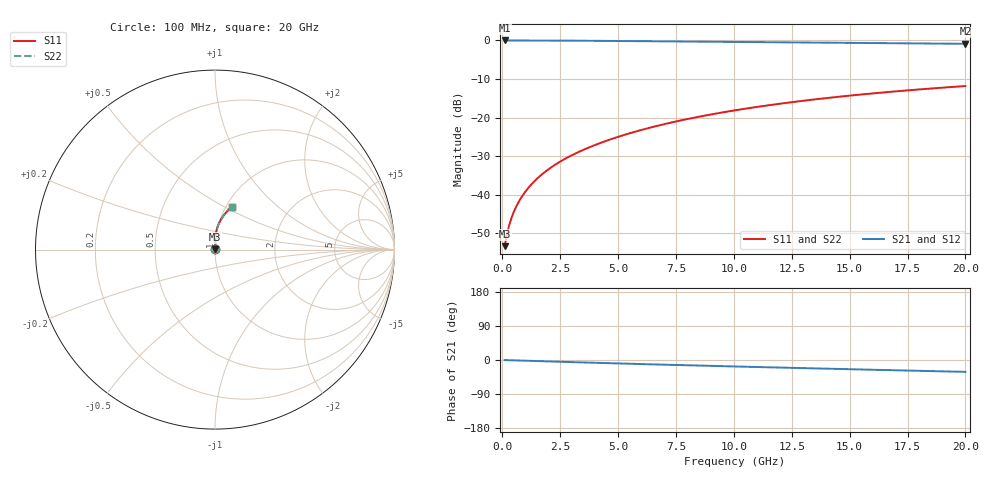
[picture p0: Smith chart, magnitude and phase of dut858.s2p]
! Touchstone file exported from HFSS 2024.1.0
!  File:  C:/UserFiles/LocalFiles/RDL_TSV_Batchsim/temp_RDL_top_858_1779855925.aedt
!  Generated:  12:27:33 PM May 27, 2026
!  Design:  RDL_top
!  Project:  temp_RDL_top_858_1779855925
!  Setup:  Setup1
!  Solution:  Sweep
! Variables:
!  dtsv = 10.80580581um
!  hbump = 3um
!  htsv = 91.13um
!  ldown = 100um
!  lrdl = 468.39um
!  p = 40
!  p1 = 45.71um
!  rhole = 1um
!  t = 450um
!  tdown = 3.915915916um
!  trdl = 4.34um
!  wdown = 15.38538539um
!  wrdl = 24.45um
# GHz S MA R 50.000000
! Terminal data exported
! Port[1] = Box2_T1
! Port[2] = Box2_T2
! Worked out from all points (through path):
!   200 points, 100 MHz to 20 GHz, reference 50 ohm
!   highest |S21| = -0.02 dB at 100 MHz (marker M1); lowest = -0.9 dB at 20 GHz (marker M2)
!   group delay of S21, straight-line fit = 4.29 ps
!   lowest |S11| = -53.3 dB at 100 MHz (marker M3), VSWR 1.00, Z = 50.2 + j0.124 ohm
!   |S11| at or under -10 dB: start of sweep to end of sweep
!   |S22| runs from -53.3 to -11.8 dB; largest |S21 - S12| = 4.3e-15
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0.1  0.002155 34.9  0.9982 -0.2  0.9982 -0.2  0.002155 34.9
! Gamma 0 0 0 0
! Port Impedance 50 0 50 0
0.2  0.003055 52.1  0.9981 -0.4  0.9981 -0.4  0.003055 52.1
0.3  0.004047 60.4  0.9979 -0.6  0.9979 -0.6  0.004047 60.4
0.4  0.00504 65.3  0.9978 -0.8  0.9978 -0.8  0.005039 65.3
0.5  0.006024 68.8  0.9976 -1.0  0.9976 -1.0  0.006023 68.8
0.6  0.007006 71.4  0.9975 -1.1  0.9975 -1.1  0.007006 71.4
0.8  0.008985 75.3  0.9973 -1.5  0.9973 -1.5  0.008985 75.3
1.1  0.01201 79.0  0.9968 -2.1  0.9968 -2.1  0.01201 79.1
1.3  0.01406 80.8  0.9964 -2.5  0.9964 -2.5  0.01406 80.8
1.6  0.01718 82.7  0.9958 -3.0  0.9958 -3.0  0.01718 82.7
2.1  0.02251 84.9  0.9945 -3.9  0.9945 -3.9  0.02251 84.9
2.7  0.02908 86.5  0.9926 -5.0  0.9926 -5.0  0.02908 86.5
3.5  0.03818 87.7  0.9895 -6.5  0.9895 -6.5  0.03818 87.7
4.2  0.04645 88.3  0.9864 -7.7  0.9864 -7.7  0.04646 88.3
5  0.05626 88.4  0.9825 -9.1  0.9825 -9.1  0.05627 88.4
6.8  0.07953 87.7  0.973 -12.1  0.973 -12.1  0.07955 87.7
8.4  0.1012 86.1  0.9642 -14.6  0.9642 -14.6  0.1013 86.1
10.1  0.1248 83.9  0.9549 -17.2  0.9549 -17.2  0.1249 83.9
11.7  0.1472 81.5  0.9463 -19.6  0.9463 -19.6  0.1472 81.5
13.4  0.1707 78.8  0.9373 -22.1  0.9373 -22.1  0.1707 78.8
16.7  0.2148 73.5  0.9201 -26.7  0.9201 -26.7  0.2149 73.5
20  0.2562 68.3  0.9031 -31.3  0.9031 -31.3  0.2563 68.3
